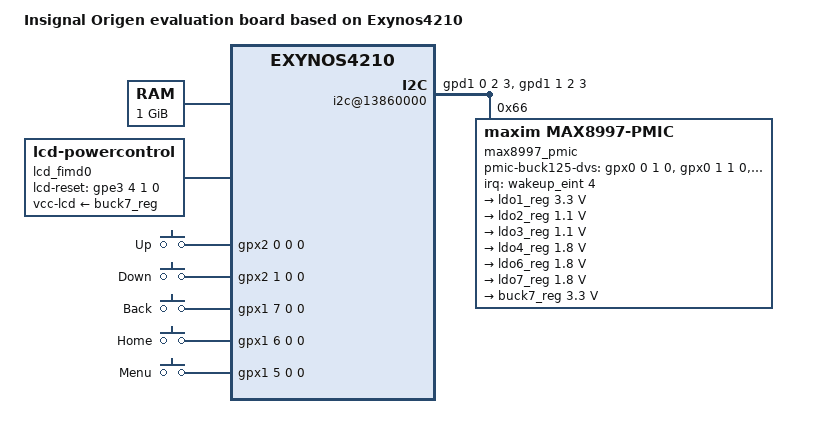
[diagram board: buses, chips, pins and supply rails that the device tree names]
/*
 * Samsung's Exynos4210 based Origen board device tree source
 *
 * Copyright (c) 2010-2011 Samsung Electronics Co., Ltd.
 *		http://www.samsung.com
 * Copyright (c) 2010-2011 Linaro Ltd.
 *		www.linaro.org
 *
 * Device tree source file for Insignal's Origen board which is based on
 * Samsung's Exynos4210 SoC.
 *
 * This program is free software; you can redistribute it and/or modify
 * it under the terms of the GNU General Public License version 2 as
 * published by the Free Software Foundation.
*/

/dts-v1/;
/include/ "exynos4210.dtsi"

/ {
	model = "Insignal Origen evaluation board based on Exynos4210";
	compatible = "insignal,origen", "samsung,exynos4210";

	memory {
		reg = <0x40000000 0x40000000>;
	};

	chosen {
		bootargs ="root=/dev/ram0 rw ramdisk=8192 initrd=0x41000000,8M console=ttySAC2,115200 init=/linuxrc";
	};

	sdhci@12530000 {
		samsung,sdhci-bus-width = <4>;
		linux,mmc_cap_4_bit_data;
		samsung,sdhci-cd-internal;
		gpio-cd = <&gpk2 2 2 3 3>;
		gpios = <&gpk2 0 2 0 3>,
			<&gpk2 1 2 0 3>,
			<&gpk2 3 2 3 3>,
			<&gpk2 4 2 3 3>,
			<&gpk2 5 2 3 3>,
			<&gpk2 6 2 3 3>;
	};

	sdhci@12510000 {
		samsung,sdhci-bus-width = <4>;
		linux,mmc_cap_4_bit_data;
		samsung,sdhci-cd-internal;
		gpio-cd = <&gpk0 2 2 3 3>;
		gpios = <&gpk0 0 2 0 3>,
			<&gpk0 1 2 0 3>,
			<&gpk0 3 2 3 3>,
			<&gpk0 4 2 3 3>,
			<&gpk0 5 2 3 3>,
			<&gpk0 6 2 3 3>;
	};

	lcd_fimd0: lcd_panel0 {
		compatible = "lcd-powercontrol";
		vcc-lcd-supply = <&buck7_reg>;
		lcd-reset-gpio = <&gpe3 4 1 0 0>;
		lcd-htiming = <64 16 48 1024>;
		lcd-vtiming = <64 16 3 600>;
	};

	fimd@11C00000 {
		samsung,fimd-display = <&lcd_fimd0>;
		samsung,fimd-vidout-rgb;
		samsung,fimd-inv-hsync;
		samsung,fimd-inv-vsync;
		samsung,fimd-inv-vclk;
		samsung,fimd-frame-rate = <60>;

		gpios = <&gpf0 0 2 0 0>,
			<&gpf0 1 2 0 0>,
			<&gpf0 2 2 0 0>,
			<&gpf0 3 2 0 0>,
			<&gpf0 4 2 0 0>,
			<&gpf0 5 2 0 0>,
			<&gpf0 6 2 0 0>,
			<&gpf0 7 2 0 0>,
			<&gpf1 0 2 0 0>,
			<&gpf1 1 2 0 0>,
			<&gpf1 2 2 0 0>,
			<&gpf1 3 2 0 0>,
			<&gpf1 4 2 0 0>,
			<&gpf1 5 2 0 0>,
			<&gpf1 6 2 0 0>,
			<&gpf1 7 2 0 0>,
			<&gpf2 0 2 0 0>,
			<&gpf2 1 2 0 0>,
			<&gpf2 2 2 0 0>,
			<&gpf2 3 2 0 0>,
			<&gpf2 4 2 0 0>,
			<&gpf2 5 2 0 0>,
			<&gpf2 6 2 0 0>,
			<&gpf2 7 2 0 0>,
			<&gpf3 0 2 0 0>,
			<&gpf3 1 2 0 0>,
			<&gpf3 2 2 0 0>,
			<&gpf3 3 2 0 0>;

		window0 {
			samsung,fimd-win-id = <0>;
			samsung,fimd-win-bpp = <32 24>;
			samsung,fimd-win-res = <1024 600>;
			samsung,fimd-win-vres = <1024 600>;
		};

		window1 {
			samsung,fimd-win-id = <1>;
			samsung,fimd-win-bpp = <32 24>;
			samsung,fimd-win-res = <1024 600>;
			samsung,fimd-win-vres = <1024 600>;
		};
	};

	gpio_keys {
		compatible = "gpio-keys";
		#address-cells = <1>;
		#size-cells = <0>;

		up {
			label = "Up";
			gpios = <&gpx2 0 0 0 2>;
			linux,code = <103>;
		};

		down {
			label = "Down";
			gpios = <&gpx2 1 0 0 2>;
			linux,code = <108>;
		};

		back {
			label = "Back";
			gpios = <&gpx1 7 0 0 2>;
			linux,code = <158>;
		};

		home {
			label = "Home";
			gpios = <&gpx1 6 0 0 2>;
			linux,code = <102>;
		};

		menu {
			label = "Menu";
			gpios = <&gpx1 5 0 0 2>;
			linux,code = <139>;
		};
	};

	keypad@100A0000 {
		status = "disabled";
	};

	sdhci@12520000 {
		status = "disabled";
	};

	sdhci@12540000 {
		status = "disabled";
	};

	i2c@13860000 {
		#address-cells = <1>;
		#size-cells = <0>;
		samsung,i2c-sda-delay = <100>;
		samsung,i2c-max-bus-freq = <20000>;
		gpios = <&gpd1 0 2 3 0>,
			<&gpd1 1 2 3 0>;

		max8997_pmic@66 {
			compatible = "maxim,max8997-pmic";
			interrupt-parent = <&wakeup_eint>;
			reg = <0x66>;
			interrupts = <4 0>, <3 0>;

			max8997,pmic-buck1-uses-gpio-dvs;
			max8997,pmic-buck2-uses-gpio-dvs;
			max8997,pmic-buck5-uses-gpio-dvs;
			max8997,pmic-ignore-gpiodvs-side-effect;
			max8997,pmic-buck125-default-dvs-idx = <0>;
			max8997,pmic-buck125-dvs-gpios = <&gpx0 0 1 0 0>, /* SET1 */
							 <&gpx0 1 1 0 0>, /* SET2 */
							 <&gpx0 2 1 0 0>; /* SET3 */
			max8997,pmic-buck1-dvs-voltage = <1350000>, <1300000>,
							 <1250000>, <1200000>,
							 <1150000>, <1100000>,
							 <1000000>, <950000>;
			max8997,pmic-buck2-dvs-voltage = <1100000>, <1100000>,
							 <1100000>, <1100000>,
							 <1000000>, <1000000>,
							 <1000000>, <1000000>;
			max8997,pmic-buck5-dvs-voltage = <1200000>, <1200000>,
							 <1200000>, <1200000>,
							 <1200000>, <1200000>,
							 <1200000>, <1200000>;

			regulators {
				ldo1_reg: LDO1 {
					regulator-name = "VDD_ABB_3.3V";
					regulator-min-microvolt = <3300000>;
					regulator-max-microvolt = <3300000>;
				};

				ldo2_reg: LDO2 {
					regulator-name = "VDD_ALIVE_1.1V";
					regulator-min-microvolt = <1100000>;
					regulator-max-microvolt = <1100000>;
					regulator-always-on;
				};

				ldo3_reg: LDO3 {
					regulator-name = "VMIPI_1.1V";
					regulator-min-microvolt = <1100000>;
					regulator-max-microvolt = <1100000>;
				};

				ldo4_reg: LDO4 {
					regulator-name = "VDD_RTC_1.8V";
					regulator-min-microvolt = <1800000>;
					regulator-max-microvolt	= <1800000>;
					regulator-always-on;
				};

				ldo6_reg: LDO6 {
					regulator-name = "VMIPI_1.8V";
					regulator-min-microvolt = <1800000>;
					regulator-max-microvolt	= <1800000>;
					regulator-always-on;
				};

				ldo7_reg: LDO7 {
					regulator-name = "VDD_AUD_1.8V";
					regulator-min-microvolt = <1800000>;
					regulator-max-microvolt	= <1800000>;
					regulator-always-on;
				};

				buck7_reg: BUCK7 {
					regulator-name = "VDD_LCD_3.3V";
					regulator-min-microvolt = <3300000>;
					regulator-max-microvolt = <3300000>;
					regulator-boot-on;
				};
			};
		};
	};

	i2c@13870000 {
		status = "disabled";
	};

	i2c@13880000 {
		status = "disabled";
	};

	i2c@13890000 {
		status = "disabled";
	};

	i2c@138A0000 {
		status = "disabled";
	};

	i2c@138B0000 {
		status = "disabled";
	};

	i2c@138C0000 {
		status = "disabled";
	};

	i2c@138D0000 {
		status = "disabled";
	};
};
